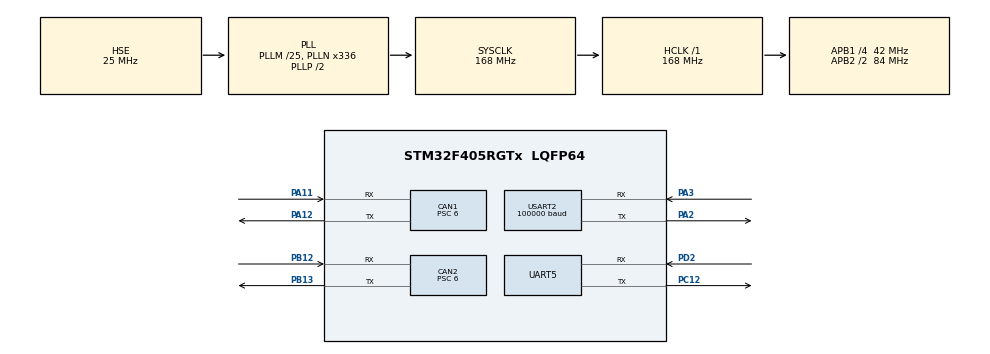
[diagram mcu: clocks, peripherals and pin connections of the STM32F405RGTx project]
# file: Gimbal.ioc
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CAN1.BS1=CAN_BS1_4TQ
CAN1.BS2=CAN_BS2_2TQ
CAN1.CalculateBaudRate=1000000
CAN1.CalculateTimeBit=1000
CAN1.CalculateTimeQuantum=142.85714285714286
CAN1.Prescaler=6
CAN2.BS1=CAN_BS1_4TQ
CAN2.BS2=CAN_BS2_2TQ
CAN2.CalculateBaudRate=1000000
CAN2.CalculateTimeBit=1000
CAN2.CalculateTimeQuantum=142.85714285714286
CAN2.Prescaler=6
Dma.Request0=USART2_RX
Dma.Request1=USART2_TX
Dma.USART2_RX.0.Direction=DMA_PERIPH_TO_MEMORY
Dma.USART2_RX.0.FIFOMode=DMA_FIFOMODE_DISABLE
Dma.USART2_RX.0.Instance=DMA1_Stream5
Dma.USART2_RX.0.MemDataAlignment=DMA_MDATAALIGN_BYTE
Dma.USART2_RX.0.MemInc=DMA_MINC_ENABLE
Dma.USART2_RX.0.Mode=DMA_CIRCULAR
Dma.USART2_RX.0.PeriphDataAlignment=DMA_PDATAALIGN_BYTE
Dma.USART2_RX.0.PeriphInc=DMA_PINC_DISABLE
Dma.USART2_RX.0.Priority=DMA_PRIORITY_VERY_HIGH
Dma.USART2_TX.1.Direction=DMA_MEMORY_TO_PERIPH
Dma.USART2_TX.1.FIFOMode=DMA_FIFOMODE_DISABLE
Dma.USART2_TX.1.Instance=DMA1_Stream6
Dma.USART2_TX.1.MemDataAlignment=DMA_MDATAALIGN_BYTE
Dma.USART2_TX.1.MemInc=DMA_MINC_ENABLE
Dma.USART2_TX.1.Mode=DMA_NORMAL
Dma.USART2_TX.1.PeriphDataAlignment=DMA_PDATAALIGN_BYTE
Dma.USART2_TX.1.PeriphInc=DMA_PINC_DISABLE
Dma.USART2_TX.1.Priority=DMA_PRIORITY_LOW
FREERTOS.BinarySemaphores01=myBinarySem01,Dynamic,NULL
FREERTOS.INCLUDE_vTaskDelayUntil=1
FREERTOS.Tasks01=Semaphore_Task,-1,256,Semaphore,Default,NULL,Dynamic,NULL,NULL;Yaw_Control_Tas,0,256,yaw_control,Default,NULL,Dynamic,NULL,NULL;Print_Task,-3,128,print_task,Default,NULL,Dynamic,NULL,NULL;pitch_task,-3,256,pitch_control,Default,NULL,Dynamic,NULL,NULL;Mpu_Get_Task,-3,128,Mpu_Get,Default,NULL,Dynamic,NULL,NULL;FrictionWheel_T,-3,128,FrictionWheel_Control,Default,NULL,Dynamic,NULL,NULL;Dial_Task,-3,128,dial_control,Default,NULL,Dynamic,NULL,NULL
Mcu.Family=STM32F4
Mcu.Name=STM32F405RGTx
Mcu.Package=LQFP64
NVIC.CAN1_RX0_IRQn=true\:5\:0\:false\:false\:true\:true\:true\:true\:true
NVIC.CAN1_RX1_IRQn=true\:5\:0\:false\:false\:true\:true\:true\:true\:true
NVIC.CAN1_SCE_IRQn=true\:5\:0\:false\:false\:true\:true\:true\:true\:true
NVIC.CAN1_TX_IRQn=true\:5\:0\:false\:false\:true\:true\:true\:true\:true
NVIC.CAN2_RX0_IRQn=true\:5\:0\:false\:false\:true\:true\:true\:true\:true
NVIC.CAN2_RX1_IRQn=true\:5\:0\:false\:false\:true\:true\:true\:true\:true
NVIC.CAN2_SCE_IRQn=true\:5\:0\:false\:false\:true\:true\:true\:true\:true
NVIC.CAN2_TX_IRQn=true\:5\:0\:false\:false\:true\:true\:true\:true\:true
NVIC.DMA1_Stream5_IRQn=true\:5\:0\:false\:false\:true\:true\:false\:true\:true
NVIC.DMA1_Stream6_IRQn=true\:5\:0\:false\:false\:true\:true\:false\:true\:true
NVIC.PriorityGroup=NVIC_PRIORITYGROUP_4
NVIC.TIM1_BRK_TIM9_IRQn=true\:15\:0\:false\:false\:true\:false\:false\:true\:true
NVIC.TimeBase=TIM1_BRK_TIM9_IRQn
NVIC.TimeBaseIP=TIM9
NVIC.USART2_IRQn=true\:5\:0\:false\:false\:true\:true\:true\:true\:true
PA11.Mode=CAN_Activate
PA11.Signal=CAN1_RX
PA12.Mode=CAN_Activate
PA12.Signal=CAN1_TX
PA13.Mode=Serial_Wire
PA13.Signal=SYS_JTMS-SWDIO
PA14.Mode=Serial_Wire
PA14.Signal=SYS_JTCK-SWCLK
PA2.Mode=Asynchronous
PA2.Signal=USART2_TX
PA3.Mode=Asynchronous
PA3.Signal=USART2_RX
PB12.Mode=CAN_Activate
PB12.Signal=CAN2_RX
PB13.Mode=CAN_Activate
PB13.Signal=CAN2_TX
PC12.Mode=Asynchronous
PC12.Signal=UART5_TX
PC14-OSC32_IN.Mode=LSE-External-Oscillator
PC14-OSC32_IN.Signal=RCC_OSC32_IN
PC15-OSC32_OUT.Mode=LSE-External-Oscillator
PC15-OSC32_OUT.Signal=RCC_OSC32_OUT
PD2.Mode=Asynchronous
PD2.Signal=UART5_RX
PH0-OSC_IN.Mode=HSE-External-Oscillator
PH0-OSC_IN.Signal=RCC_OSC_IN
PH1-OSC_OUT.Mode=HSE-External-Oscillator
PH1-OSC_OUT.Signal=RCC_OSC_OUT
ProjectManager.HeapSize=0x200
ProjectManager.StackSize=0x400
ProjectManager.TargetToolchain=MDK-ARM V5.32
RCC.48MHZClocksFreq_Value=84000000
RCC.AHBFreq_Value=168000000
RCC.APB1CLKDivider=RCC_HCLK_DIV4
RCC.APB1Freq_Value=42000000
RCC.APB1TimFreq_Value=84000000
RCC.APB2CLKDivider=RCC_HCLK_DIV2
RCC.APB2Freq_Value=84000000
RCC.APB2TimFreq_Value=168000000
RCC.CortexFreq_Value=168000000
RCC.HCLKFreq_Value=168000000
RCC.HSE_VALUE=25000000
RCC.HSI_VALUE=16000000
RCC.PLLM=25
RCC.PLLN=336
RCC.PLLSourceVirtual=RCC_PLLSOURCE_HSE
RCC.SYSCLKFreq_VALUE=168000000
RCC.SYSCLKSource=RCC_SYSCLKSOURCE_PLLCLK
RCC.VCOOutputFreq_Value=336000000
UART5.VirtualMode=Asynchronous
USART2.BaudRate=100000
USART2.Parity=PARITY_EVEN
USART2.VirtualMode=VM_ASYNC
VP_FREERTOS_VS_CMSIS_V1.Mode=CMSIS_V1
VP_SYS_VS_tim9.Mode=TIM9
board=custom

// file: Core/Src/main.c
/* USER CODE BEGIN Header */
/**
 ******************************************************************************
 * @file           : main.c
 * @brief          : Main program body
 ******************************************************************************
 * @attention
 *
 * Copyright (c) 2024 STMicroelectronics.
 * All rights reserved.
 *
 * This software is licensed under terms that can be found in the LICENSE file
 * in the root directory of this software component.
 * If no LICENSE file comes with this software, it is provided AS-IS.
 *
 ******************************************************************************
 */
/* USER CODE END Header */
#include "main.h"
#include "cmsis_os.h"
#include "can.h"
#include "dma.h"
#include "usart.h"
#include "gpio.h"

/* USER CODE BEGIN Includes */
#include "freertos.h"
#include "task.h"
#include "MPU6050.h"
#include "inv_mpu.h"
#include "mycan.h"
/* USER CODE END Includes */

/* USER CODE BEGIN PTD */
#define LENGTH 100 // 宏定�???
/* USER CODE END PTD */

/* USER CODE BEGIN PD */
extern uint8_t RxBuffer[];
/* USER CODE END PD */

void SystemClock_Config(void);
void MX_FREERTOS_Init(void);

int main(void)
{

  /* MCU Configuration--------------------------------------------------------*/

  /* Reset of all peripherals, Initializes the Flash interface and the Systick. */
  HAL_Init();

  /* USER CODE BEGIN Init */
  MPU_Init();
  mpu_dmp_init(); // 使能Mpu和dmp
  while (mpu_dmp_init())
  {
    MPU_Init();
    mpu_dmp_init();
  }

  HAL_CAN_Start(&hcan1); // 启动CAN
  HAL_CAN_Start(&hcan2);

  FilterInit(); // 配置过滤�??

  HAL_CAN_ActivateNotification(&hcan1, CAN_IT_RX_FIFO0_MSG_PENDING); // 使能can接收中断
  HAL_CAN_ActivateNotification(&hcan2, CAN_IT_RX_FIFO0_MSG_PENDING); // 使能can接收中断
  /* USER CODE END Init */

  /* Configure the system clock */
  SystemClock_Config();

  /* Initialize all configured peripherals */
  MX_GPIO_Init();
  MX_DMA_Init();
  MX_USART2_UART_Init();
  MX_CAN1_Init();
  MX_UART5_Init();
  MX_CAN2_Init();
  /* USER CODE BEGIN 2 */
  __HAL_UART_ENABLE_IT(&huart2, UART_IT_IDLE);                // 使能中断
  HAL_UART_Receive_DMA(&huart2, (uint8_t *)RxBuffer, LENGTH); // 弿启DMA中断
  /* USER CODE END 2 */

  /* Call init function for freertos objects (in freertos.c) */
  MX_FREERTOS_Init();

  /* Start scheduler */
  osKernelStart();
  /* We should never get here as control is now taken by the scheduler */
  /* Infinite loop */
  while (1)
  {

  }
}

void SystemClock_Config(void)
{
  RCC_OscInitTypeDef RCC_OscInitStruct = {0};
  RCC_ClkInitTypeDef RCC_ClkInitStruct = {0};

  /** Configure the main internal regulator output voltage
   */
  __HAL_RCC_PWR_CLK_ENABLE();
  __HAL_PWR_VOLTAGESCALING_CONFIG(PWR_REGULATOR_VOLTAGE_SCALE1);

  /** Initializes the RCC Oscillators according to the specified parameters
   * in the RCC_OscInitTypeDef structure.
   */
  RCC_OscInitStruct.OscillatorType = RCC_OSCILLATORTYPE_HSE;
  RCC_OscInitStruct.HSEState = RCC_HSE_ON;
  RCC_OscInitStruct.PLL.PLLState = RCC_PLL_ON;
  RCC_OscInitStruct.PLL.PLLSource = RCC_PLLSOURCE_HSE;
  RCC_OscInitStruct.PLL.PLLM = 25;
  RCC_OscInitStruct.PLL.PLLN = 336;
  RCC_OscInitStruct.PLL.PLLP = RCC_PLLP_DIV2;
  RCC_OscInitStruct.PLL.PLLQ = 4;
  if (HAL_RCC_OscConfig(&RCC_OscInitStruct) != HAL_OK)
  {
    Error_Handler();
  }

  /** Initializes the CPU, AHB and APB buses clocks
   */
  RCC_ClkInitStruct.ClockType = RCC_CLOCKTYPE_HCLK | RCC_CLOCKTYPE_SYSCLK | RCC_CLOCKTYPE_PCLK1 | RCC_CLOCKTYPE_PCLK2;
  RCC_ClkInitStruct.SYSCLKSource = RCC_SYSCLKSOURCE_PLLCLK;
  RCC_ClkInitStruct.AHBCLKDivider = RCC_SYSCLK_DIV1;
  RCC_ClkInitStruct.APB1CLKDivider = RCC_HCLK_DIV4;
  RCC_ClkInitStruct.APB2CLKDivider = RCC_HCLK_DIV2;

  if (HAL_RCC_ClockConfig(&RCC_ClkInitStruct, FLASH_LATENCY_5) != HAL_OK)
  {
    Error_Handler();
  }
}

void HAL_TIM_PeriodElapsedCallback(TIM_HandleTypeDef *htim)
{
  if (htim->Instance == TIM9)
  {
    HAL_IncTick();
  }
}

void Error_Handler(void)
{
  __disable_irq();
  while (1)
  {
  }
}

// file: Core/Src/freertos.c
/* USER CODE BEGIN Header */
/**
 ******************************************************************************
 * File Name          : freertos.c
 * Description        : Code for freertos applications
 ******************************************************************************
 * @attention
 *
 * Copyright (c) 2024 STMicroelectronics.
 * All rights reserved.
 *
 * This software is licensed under terms that can be found in the LICENSE file
 * in the root directory of this software component.
 * If no LICENSE file comes with this software, it is provided AS-IS.
 *
 ******************************************************************************
 */
/* USER CODE END Header */

#include "FreeRTOS.h"
#include "task.h"
#include "main.h"
#include "cmsis_os.h"

/* USER CODE BEGIN Includes */
#include "string.h"
#include "stdio.h"

// 自己移植的函�???
#include "mycan.h"
#include "PID.h"
#include "DR16_control.h"

// 外设
#include "usart.h"
#include "can.h"

// freertos
#include "queue.h"

// mpu
#include "MPU6050.h"
#include "inv_mpu.h"
/* USER CODE END Includes */

/* USER CODE BEGIN PTD */
extern volatile unsigned char sbus_rx_buffer[2][RC_FRAME_LENGTH];
/* USER CODE END PTD */

/* USER CODE BEGIN PD */
#define LENGTH 100 // 宏定
                   /* USER CODE END PD */

/* USER CODE BEGIN PM */
// mpu

float mpu_pitch, mpu_roll, mpu_yaw;
float mpu_gx, mpu_gy, mpu_gz;

// DMA
uint8_t RxBuffer[LENGTH];
uint8_t RecCount = 0;
uint8_t RxFlag = 0;

// yaw
//  yaw_pid
PID pid_yaw_one = {0};
// yaw_Tx
uint32_t TxID_yaw = 0x2FF;
uint8_t TxLength_yaw = 8;
uint8_t TxData_yaw[8] = {0};
// yaw_pid
float feedbackValue_yaw;
float feedbackValue1_yaw;
float targetValue_yaw = 0;
int16_t Speed_yaw;
// yaw_Rx
uint32_t RxID_yaw = {0};
uint8_t RxLength_yaw = 8;
uint8_t RxData_yaw[8];
// yaw_RC_CtrlData
RC_Ctl_t RC_CtrlData_yaw;

// FrictionWheel_pid_L
PID pid_FrictionWheel_one_L = {0};
// FrictionWheel_Tx_L
uint32_t TxID_FrictionWheel_L = 0x200;
uint8_t TxLength_FrictionWheel_L = 8;
uint8_t TxData_FrictionWheel_L[8] = {0};
// FrictionWheel_pid_L
float feedbackValue_FrictionWheel_L;
float feedbackValue1_FrictionWheel_L;
float targetValue_FrictionWheel_L = 0;
int16_t Speed_FrictionWheel_L;
// FrictionWheel_Rx_L
uint32_t RxID_FrictionWheel_L; // 接受�?
uint8_t RxLength_FrictionWheel_L = 8;
uint8_t RxData_FrictionWheel_L[8];
// FrictionWheel_pid_R
PID pid_FrictionWheel_one_R = {0};
// FrictionWheel_Tx_R
uint32_t TxID_FrictionWheel_R = 0x200;
uint8_t TxLength_FrictionWheel_R = 8;
uint8_t TxData_FrictionWheel_R[8] = {0};
// FrictionWheel_pid_R
float feedbackValue_FrictionWheel_R;
float feedbackValue1_FrictionWheel_R;
float targetValue_FrictionWheel_R = 0;
int16_t Speed_FrictionWheel_R;
// FrictionWheel_Rx_R
uint32_t RxID_FrictionWheel_R; // 接受�?
uint8_t RxLength_FrictionWheel_R = 8;
uint8_t RxData_FrictionWheel_R[8];

// pitch
typedef struct
{
  // pitch_pid
  CascadePID pid_two;
  // pitch_Tx
  uint32_t TxID;
  uint8_t TxLength;
  uint8_t TxDatal[8];
  // pitch_pid
  float feedbackValue;
  float feedbackValue1;
  float targetValue;
  int16_t Speed;
  // pitch_Rx
  uint32_t RxID; // 接受�?
  uint8_t RxLength;
  uint8_t RxData[8];
  // pitch_Measurement
  uint16_t encoder;
  float Angle;
} pitchStructDef;
pitchStructDef pitchStruct = {0};

// dial
typedef struct
{
  // dial_pid
  CascadePID pid_two;
  // dial_Tx
  uint32_t TxID;
  uint8_t TxLength;
  uint8_t TxDatal[8];
  // dial_pid
  float feedbackValue;
  float feedbackValue1;
  float targetValue;
  int16_t Speed;
  // dial_Rx
  uint32_t RxID; // 接受�?
  uint8_t RxLength;
  uint8_t RxData[8];
  // dial_Measurement
  uint16_t encoder;
  float Angle;
} dialStructDef;
dialStructDef dialStruct = {0};

// 平滑因子
float alpha = 0.05;

// 队列
QueueHandle_t QueueSemaYawHandler;
QueueHandle_t QueueprintHandler;
// QueueHandle_t QueueMpuYawHandler;
// QueueHandle_t QueueMpuPitchHandler;
/* USER CODE END PM */

osThreadId Semaphore_TaskHandle;
osThreadId Yaw_Control_TasHandle;
osThreadId Print_TaskHandle;
osThreadId pitch_taskHandle;
osThreadId Mpu_Get_TaskHandle;
osThreadId FrictionWheel_THandle;
osThreadId Dial_TaskHandle;
osSemaphoreId myBinarySem01Handle;

void Semaphore(void const *argument);
void yaw_control(void const *argument);
void print_task(void const *argument);
void pitch_control(void const *argument);
void Mpu_Get(void const *argument);
void FrictionWheel_Control(void const *argument);
void dial_control(void const *argument);

void MX_FREERTOS_Init(void); /* (MISRA C 2004 rule 8.1) */

/* GetIdleTaskMemory prototype (linked to static allocation support) */
void vApplicationGetIdleTaskMemory(StaticTask_t **ppxIdleTaskTCBBuffer, StackType_t **ppxIdleTaskStackBuffer, uint32_t *pulIdleTaskStackSize);

/* USER CODE BEGIN GET_IDLE_TASK_MEMORY */
static StaticTask_t xIdleTaskTCBBuffer;
static StackType_t xIdleStack[configMINIMAL_STACK_SIZE];

void vApplicationGetIdleTaskMemory(StaticTask_t **ppxIdleTaskTCBBuffer, StackType_t **ppxIdleTaskStackBuffer, uint32_t *pulIdleTaskStackSize)
{
  *ppxIdleTaskTCBBuffer = &xIdleTaskTCBBuffer;
  *ppxIdleTaskStackBuffer = &xIdleStack[0];
  *pulIdleTaskStackSize = configMINIMAL_STACK_SIZE;
  /* place for user code */
}
/* USER CODE END GET_IDLE_TASK_MEMORY */

void MX_FREERTOS_Init(void)
{

  /* Create the semaphores(s) */
  /* definition and creation of myBinarySem01 */
  osSemaphoreDef(myBinarySem01);
  myBinarySem01Handle = osSemaphoreCreate(osSemaphore(myBinarySem01), 1);

  /* USER CODE BEGIN RTOS_QUEUES */
  /* add queues, ... */
  QueueSemaYawHandler = xQueueCreate(20, 20);
  QueueprintHandler = xQueueCreate(8, 4); // 创建队列
  // QueueMpuYawHandler = xQueueCreate(4, 4);
  // QueueMpuPitchHandler = xQueueCreate(4, 4);
  /* USER CODE END RTOS_QUEUES */

  /* Create the thread(s) */
  /* definition and creation of Semaphore_Task */
  osThreadDef(Semaphore_Task, Semaphore, osPriorityBelowNormal, 0, 256);
  Semaphore_TaskHandle = osThreadCreate(osThread(Semaphore_Task), NULL);

  /* definition and creation of Yaw_Control_Tas */
  osThreadDef(Yaw_Control_Tas, yaw_control, osPriorityNormal, 0, 256);
  Yaw_Control_TasHandle = osThreadCreate(osThread(Yaw_Control_Tas), NULL);

  /* definition and creation of Print_Task */
  osThreadDef(Print_Task, print_task, osPriorityIdle, 0, 128);
  Print_TaskHandle = osThreadCreate(osThread(Print_Task), NULL);

  /* definition and creation of pitch_task */
  osThreadDef(pitch_task, pitch_control, osPriorityIdle, 0, 256);
  pitch_taskHandle = osThreadCreate(osThread(pitch_task), NULL);

  /* definition and creation of Mpu_Get_Task */
  osThreadDef(Mpu_Get_Task, Mpu_Get, osPriorityIdle, 0, 128);
  Mpu_Get_TaskHandle = osThreadCreate(osThread(Mpu_Get_Task), NULL);

  /* definition and creation of FrictionWheel_T */
  osThreadDef(FrictionWheel_T, FrictionWheel_Control, osPriorityIdle, 0, 128);
  FrictionWheel_THandle = osThreadCreate(osThread(FrictionWheel_T), NULL);

  /* definition and creation of Dial_Task */
  osThreadDef(Dial_Task, dial_control, osPriorityIdle, 0, 128);
  Dial_TaskHandle = osThreadCreate(osThread(Dial_Task), NULL);

}

void Semaphore(void const *argument)
{
  /* USER CODE BEGIN Semaphore */
  uint32_t tick_1 = 0;
  uint32_t tick_2 = 0;
  uint32_t tick_interval = 0;
  /* Infinite loop */
  for (;;)
  {
    tick_2 = HAL_GetTick(); // 获取当前时刻的tick�???????
    if (xSemaphoreTake(myBinarySem01Handle, 100) == pdTRUE)
      tick_1 = HAL_GetTick();        // 再次获取
    tick_interval = tick_1 - tick_2; // 判断两次tick之间的时间差

    if (tick_interval <= 100) // 如果小于等于100，说明在等待时间内获取了信号�???????
    {
      RemoteDataProcess((uint8_t *)RxBuffer);
    }
    else // 如果大于100，说明为超时�???????�???????
    {
      memset(&RC_CtrlData, 0, sizeof(RC_CtrlData));
    }
    xQueueSend(QueueSemaYawHandler, &RC_CtrlData, 0);

    vTaskDelay(1);
  }
  /* USER CODE END Semaphore */
}

void yaw_control(void const *argument)
{
  /* USER CODE BEGIN yaw_control */
  TickType_t xLastWakeTime;
  xLastWakeTime = xTaskGetTickCount();

  PID_Init(&pid_yaw_one, 3, 1, 5, 500, 800); // 初始化pid

  float prev_ema = 0; // 初始 EMA �???????
  /* Infinite loop */
  for (;;)
  {
    xQueueReceive(QueueSemaYawHandler, &RC_CtrlData_yaw, 0); // 接收来自信号量任务的目标值
    // xQueueReceive(QueueMpuYawHandler, (uint8_t *)&yaw_Queue_Receive, 0);    //当前的yaw值

    targetValue_yaw = RC_CtrlData_yaw.rc.ch0; // 遥控值等于目标�??

    Speed_yaw = (RxData[2] << 8) | RxData[3]; // 读取实际速度

    feedbackValue_yaw = Speed_yaw; // 这里获取到被控对象的反馈�???????

    float ema_result = emaFilter(feedbackValue_yaw, &prev_ema, alpha);

    PID_Calc(&pid_yaw_one, targetValue_yaw, ema_result); // 进行PID计算，结果在output成员变量

    TxData_yaw[0] = (((int16_t)pid_yaw_one.output) >> 8) & 0xff; // 右移八位是因�???????16位数据只有后面八位可以存�???????8位的数组
    TxData_yaw[1] = ((int16_t)pid_yaw_one.output) & 0xff;

    CAN2_Transmit(TxID_yaw, TxLength_yaw, TxData_yaw);

    // printf("%f,%f,%f\n", targetValue, ema_result,mypid.output);
    xQueueSend(QueueprintHandler, (uint8_t *)(void *)(&ema_result), 0);

    vTaskDelayUntil(&xLastWakeTime, 1);
  }
  /* USER CODE END yaw_control */
}

void print_task(void const *argument)
{
  /* USER CODE BEGIN print_task */
  /* Infinite loop */
  for (;;)
  {
    BaseType_t xStatues;
    float speed_;

    xStatues = xQueueReceive(QueueprintHandler, (uint8_t *)(void *)&speed_, portMAX_DELAY); // 接收数据
    if (xStatues == pdTRUE)
    {
      printf("%f,%f,%f\n", targetValue_yaw, speed_, pid_yaw_one.output);
    }
    vTaskDelay(3);
  }
  /* USER CODE END print_task */
}

void pitch_control(void const *argument)
{
  /* USER CODE BEGIN pitch_control */
  pitchStruct.TxID = 0x1FF; // 发送ID
  pitchStruct.TxLength = 8;
  pitchStruct.RxLength = 8;

  // xQueueReceive(QueueMpuPitchHandler, (uint8_t *)&pitchStruct.Pitch_Queue_Receive, 0); // 接收pitch值队列

  TickType_t xLastWakeTime;
  xLastWakeTime = xTaskGetTickCount(); // 定义类型，使用vTaskDelayUntil

  PID_Init(&pitchStruct.pid_two.inner, 30, 0, 0, 0, 25000); // 初始化内环参�?
  PID_Init(&pitchStruct.pid_two.outer, 70, 0, 0, 0, 25000); // 初始化外环参�?

  /* Infinite loop */
  for (;;)
  {
    pitchStruct.encoder = (RxData[0] << 8) | RxData[1];
    pitchStruct.Angle = pitchStruct.encoder * 360.0f / 8192.0f;
    pitchStruct.Speed = (RxData[2] << 8) | RxData[3];

    pitchStruct.outerFeedback = pitchStruct.Angle;

    pitchStruct.innerFeedback = pitchStruct.Speed;                                                                        // 获取内环反馈�?
    PID_CascadeCalc(&pitchStruct.pid_two, pitchStruct.outerTarget, pitchStruct.outerFeedback, pitchStruct.innerFeedback); // 进行PID计算

    TxData[0] = (((int16_t)pid_two.output) >> 8) & 0xff; // 右移八位是因�?16位数据只有后面八位可以存�?8位的数组
    TxData[1] = ((int16_t)pid_two.output) & 0xff;

    CAN1_Transmit(pitchStruct.TxID, pitchStruct.TxLength, pitchStruct.TxData);

    // tx_data.data[0] = outerFeedback;
    // tx_data.data[1] = outerTarget;
    // tx_data.data[2] = pid_two.output / 100.0f;

    // xQueueSend(QueueHandler, (uint8_t *)&tx_data, 0);

    vTaskDelayUntil(&xLastWakeTime, 1); // 延时
  }
  /* USER CODE END pitch_control */
}

void Mpu_Get(void const *argument)
{
  /* USER CODE BEGIN Mpu_Get */
  /* Infinite loop */
  for (;;)
  {
    mpu_dmp_get_data(&mpu_pitch, &mpu_roll, &mpu_yaw);
    MPU_Get_Gyroscope(&mpu_gx, &mpu_gy, &mpu_gz);
    // printf("pitch %f, roll = %f, yaw = %f\r\n", mpu_pitch, mpu_roll, mpu_yaw);
    // xQueueSend(QueueMpuYawHandler, (uint8_t *)&MpuStruct.mpu_yaw, 0);
    // xQueueSend(QueueMpuPitchHandler, (uint8_t *)&MpuStruct.mpu_pitch, 0);
    vTaskDelay(1);
  }
  /* USER CODE END Mpu_Get */
}

void FrictionWheel_Control(void const *argument)
{
  /* USER CODE BEGIN FrictionWheel_Control */
  TickType_t xLastWakeTime;
  xLastWakeTime = xTaskGetTickCount();

  PID_Init(&pid_FrictionWheel_one_L, 3, 1, 5, 20000, 15000);
  PID_Init(&pid_FrictionWheel_one_R, 3, 1, 5, 20000, 15000);
  /* Infinite loop */
  for (;;)
  {
    if (rceStu_can1_fifo0.StdId == 0x203)
    {
      for (uint8_t i = 0; i <= 8; i++)
      {
        RxData_FrictionWheel_L[i] = Data_can1_fifo0[i];
      }
    }
    if (rceStu_can1_fifo0.StdId == 0x202)
    {
      for (uint8_t i = 0; i <= 8; i++)
      {
        RxData_FrictionWheel_R[i] = Data_can1_fifo0[i];
      }
    }

    Speed_FrictionWheel_L = (RxData_FrictionWheel_L[2] << 8) | RxData_FrictionWheel_L[3]; // 左摩擦轮实际速度
    Speed_FrictionWheel_R = (RxData_FrictionWheel_R[2] << 8) | RxData_FrictionWheel_R[3]; // 右摩擦轮实际速度

    feedbackValue_FrictionWheel_L = Speed_FrictionWheel_L; // 这里获取到被控对象的反馈�?
    feedbackValue_FrictionWheel_R = Speed_FrictionWheel_R; // 这里获取到被控对象的反馈�?

    // float ema_result = emaFilter(feedbackValue_FrictionWheel, &prev_ema, alpha);

    PID_Calc(&pid_FrictionWheel_one_L, targetValue_FrictionWheel_L, feedbackValue_FrictionWheel_L); // 进行PID计算，结果在output成员变量
    PID_Calc(&pid_FrictionWheel_one_R, targetValue_FrictionWheel_R, feedbackValue_FrictionWheel_R); // 进行PID计算，结果在output成员变量

    TxData_FrictionWheel_L[4] = (((int16_t)pid_FrictionWheel_one_L.output) >> 8) & 0xff; // 右移八位是因�?16位数据只有后面八位可以存�?8位的数组
    TxData_FrictionWheel_L[5] = ((int16_t)pid_FrictionWheel_one_L.output) & 0xff;
    TxData_FrictionWheel_R[2] = (((int16_t)pid_FrictionWheel_one_R.output) >> 8) & 0xff; // 右移八位是因�?16位数据只有后面八位可以存�?8位的数组
    TxData_FrictionWheel_R[3] = ((int16_t)pid_FrictionWheel_one_R.output) & 0xff;

    CAN1_Transmit(TxID_FrictionWheel_L, TxLength_FrictionWheel_L, TxData_FrictionWheel_L);
    CAN1_Transmit(TxID_FrictionWheel_R, TxLength_FrictionWheel_R, TxData_FrictionWheel_R);

    // xQueueSend(QueueHandler, (uint8_t *)(void *)(&ema_result), 0);

    vTaskDelayUntil(&xLastWakeTime, 1); // 延时
  }
  /* USER CODE END FrictionWheel_Control */
}

void dial_control(void const *argument)
{
  /* USER CODE BEGIN dial_control */
  dialStruct.TxID = 0x1FF;
  dialStruct.TxLength = 8;
  dialStruct.RxLength = 8;

  TickType_t xLastWakeTime;
  xLastWakeTime = xTaskGetTickCount(); // 定义类型，使用vTaskDelayUntil

  PID_Init(&dialStruct.pid_two.inner, 30, 0, 0, 0, 25000); // 初始化内环参�?
  PID_Init(&dialStruct.pid_two.outer, 70, 0, 0, 0, 25000); // 初始化外环参�?
  /* Infinite loop */
  for (;;)
  {
    dialStruct.encoder = (RxData[0] << 8) | RxData[1];
    dialStruct.Angle = dialStruct.encoder * 360.0f / 8192.0f;
    dialStruct.Speed = (RxData[2] << 8) | RxData[3];

    dialStruct.outerFeedback = dialStruct.Angle;

    dialStruct.innerFeedback = dialStruct.Speed;                                                                      // 获取内环反馈�?
    PID_CascadeCalc(&dialStruct.pid_two, dialStruct.outerTarget, dialStruct.outerFeedback, dialStruct.innerFeedback); // 进行PID计算

    TxData[0] = (((int16_t)dialStruct.pid_two.output) >> 8) & 0xff; // 右移八位是因�?16位数据只有后面八位可以存�?8位的数组
    TxData[1] = ((int16_t)dialStruct.pid_two.output) & 0xff;

    CAN1_Transmit(dialStruct.TxID, dialStruct.TxLength, dialStruct.TxData);

    // tx_data.data[0] = outerFeedback;
    // tx_data.data[1] = outerTarget;
    // tx_data.data[2] = pid_two.output / 100.0f;

    // xQueueSend(QueueHandler, (uint8_t *)&tx_data, 0);

    vTaskDelayUntil(&xLastWakeTime, 1); // 延时
  }
  /* USER CODE END dial_control */
}

/* USER CODE BEGIN Application */
void HAL_UART_RxCpltCallback(UART_HandleTypeDef *huart) // 串口中断回调函数
{
  if (huart->Instance == USART2)
  {
    HAL_UART_Receive_DMA(&huart2, (uint8_t *)RxBuffer, LENGTH);
  }
}

void HAL_UART_IdleCpltCallback(UART_HandleTypeDef *huart) // 空闲中断回调函数
{
  BaseType_t xHigherPriorityTaskWoken = pdFALSE;

  xSemaphoreGiveFromISR(myBinarySem01Handle, &xHigherPriorityTaskWoken);
  //	xSemaphoreGive(myBinarySem01Handle);

  RxFlag = 1;
  HAL_UART_DMAStop(&huart2); // 关闭DMA，每次空闲都会进函数

  if (RxFlag == 1)
  {
    RxFlag = 0;
    RecCount = LENGTH - __HAL_DMA_GET_COUNTER(&hdma_usart2_rx);
    //	printf("%s\r\n",RxBuffer);
    RecCount = 0;
    HAL_UART_Receive_DMA(&huart2, (uint8_t *)RxBuffer, LENGTH);
  }
}

int fputc(int ch, FILE *f) // 重定向fputc函数
{
  HAL_UART_Transmit(&huart5, (uint8_t *)&ch, 1, HAL_MAX_DELAY);
  return ch;
}

int fgetc(FILE *f) // 重定向fgetc函数
{
  uint8_t ch;
  HAL_UART_Receive(&huart5, (uint8_t *)&ch, 1, HAL_MAX_DELAY);
  return ch;
}
/* USER CODE END Application */
